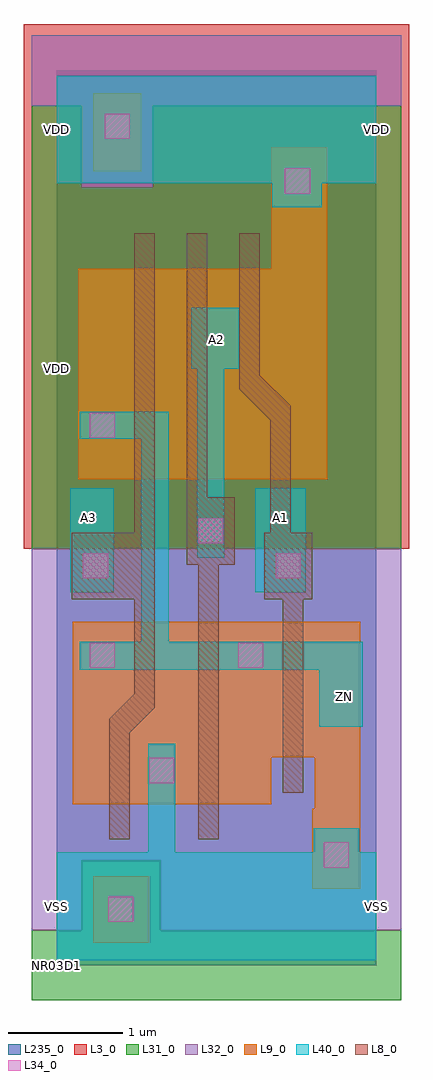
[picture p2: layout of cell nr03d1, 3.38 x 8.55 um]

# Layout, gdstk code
import gdstk
lib = gdstk.Library(unit=1e-6, precision=1e-09)
def R(c, l, rs):  # rectangles x0, y0, x1, y1
    for r in rs: c.add(gdstk.rectangle(r[:2], r[2:], *l))
def P(c, l, *ps):  # polygons
    for p in ps: c.add(gdstk.Polygon(p, *l))
L3_0 = (3, 0)
L8_0 = (8, 0)
L9_0 = (9, 0)
L31_0 = (31, 0)
L32_0 = (32, 0)
L34_0 = (34, 0)
L40_0 = (40, 0)
L235_0 = (235, 0)

nr03d1 = lib.new_cell('nr03d1')
R(nr03d1, L3_0, [(-0.29,3.65,3.09,8.245)])
P(nr03d1, L8_0, [(2.16,3.205),(2.24,3.205),(2.24,3.79),(2.05,3.79),(2.05,4.9),(1.78,5.17),(1.78,6.41),(1.6,6.41),(1.6,5.045),(1.87,4.775),(1.87,3.79),(1.82,3.79),(1.82,3.205),(1.98,3.205),(1.98,1.51),(2.16,1.51)],
  [(1.42,3.51),(1.56,3.51),(1.56,4.1),(1.32,4.1),(1.32,6.41),(1.14,6.41),(1.14,3.51),(1.24,3.51),(1.24,1.105),(1.42,1.105)],
  [(0.64,2.035),(0.86,2.255),(0.86,6.41),(0.68,6.41),(0.68,3.79),(0.13,3.79),(0.13,3.205),(0.68,3.205),(0.68,2.38),(0.46,2.16),(0.46,1.105),(0.64,1.105)])
R(nr03d1, L9_0, [(0.32,0.195,0.81,0.78), (0.32,6.955,0.74,7.64)])
P(nr03d1, L9_0, [(2.66,3.01),(2.66,0.67),(2.24,0.67),(2.24,1.37),(2.26,1.37),(2.26,1.82),(1.88,1.82),(1.88,1.41),(0.14,1.41),(0.14,3.01)],
  [(2.37,7.165),(2.37,4.255),(0.19,4.255),(0.19,6.1),(1.88,6.1),(1.88,7.165)])
P(nr03d1, L31_0, [(0.91,0.92),(0.91,0.305),(3.02,0.305),(3.02,-0.305),(-0.22,-0.305),(-0.22,0.305),(0.22,0.305),(0.22,0.92)],
  [(3.02,7.53),(3.02,3.65),(-0.22,3.65),(-0.22,7.53),(0.22,7.53),(0.22,6.815),(0.84,6.815),(0.84,7.53)])
P(nr03d1, L32_0, [(3.02,3.65),(3.02,0.305),(0.91,0.305),(0.91,0.92),(0.22,0.92),(0.22,0.305),(-0.22,0.305),(-0.22,3.65)],
  [(3.02,8.145),(3.02,7.53),(0.84,7.53),(0.84,6.815),(0.22,6.815),(0.22,7.53),(-0.22,7.53),(-0.22,8.145)])
R(nr03d1, L34_0, [(0.45,0.38,0.67,0.6), (2.34,0.855,2.56,1.075), (0.81,1.595,1.03,1.815), (0.29,2.605,0.51,2.825), (1.59,2.605,1.81,2.825), (0.23,3.39,0.45,3.61), (1.92,3.39,2.14,3.61), (1.24,3.695,1.46,3.915), (0.29,4.62,0.51,4.84), (2,6.76,2.22,6.98), (0.42,7.24,0.64,7.46)])
R(nr03d1, L40_0, [(0.12,3.265,0.5,4.18), (1.74,3.265,2.18,4.18)])
P(nr03d1, L40_0, [(0,6.85),(1.89,6.85),(1.89,6.64),(2.32,6.64),(2.32,6.85),(2.8,6.85),(2.8,7.79),(0,7.79)],
  [(1.18,5.225),(1.23,5.225),(1.23,3.57),(1.47,3.57),(1.47,5.225),(1.6,5.225),(1.6,5.76),(1.18,5.76)],
  [(0.98,4.85),(0.2,4.85),(0.2,4.61),(0.74,4.61),(0.74,2.835),(0.2,2.835),(0.2,2.59),(2.3,2.59),(2.3,2.09),(2.68,2.09),(2.68,2.835),(0.98,2.835)],
  [(2.25,1.2),(2.25,0.99),(1.04,0.99),(1.04,1.94),(0.8,1.94),(0.8,0.99),(0,0.99),(0,0.045),(2.8,0.045),(2.8,0.99),(2.65,0.99),(2.65,1.2)])
R(nr03d1, L235_0, [(0,0,2.8,7.84)])
nr03d1.add(gdstk.Label('VDD', (0,5.23), layer=40, texttype=7))
nr03d1.add(gdstk.Label('VDD', (0,5.23), layer=40, texttype=7))
nr03d1.add(gdstk.Label('VDD', (0,5.23), layer=40, texttype=7))
nr03d1.add(gdstk.Label('VDD', (0,5.23), layer=40, texttype=7))
nr03d1.add(gdstk.Label('VDD', (0,5.23), layer=40, texttype=7))
nr03d1.add(gdstk.Label('Copyright (c) 2003, 2004 Synopsys, Inc.', (0,-2.24), layer=96, texttype=0))
nr03d1.add(gdstk.Label('DT. 10-Sep-2002 16:43:55', (0,-1.68), layer=96, texttype=0))
nr03d1.add(gdstk.Label('Rev. 1', (0,-1.12), layer=96, texttype=0))
nr03d1.add(gdstk.Label('3-INPUT NOR, 1X DRIVE', (0,-0.56), layer=96, texttype=0))
nr03d1.add(gdstk.Label('NR03D1', (0,0), layer=96, texttype=0))
nr03d1.add(gdstk.Label('ZN', (2.52,2.35), layer=40, texttype=7))
nr03d1.add(gdstk.Label('A1', (1.96,3.92), layer=40, texttype=7))
nr03d1.add(gdstk.Label('A2', (1.4,5.485), layer=40, texttype=7))
nr03d1.add(gdstk.Label('A3', (0.28,3.92), layer=40, texttype=7))
nr03d1.add(gdstk.Label('VSS', (2.8,0.515), layer=40, texttype=7))
nr03d1.add(gdstk.Label('VDD', (2.8,7.32), layer=40, texttype=7))
nr03d1.add(gdstk.Label('VSS', (0,0.515), layer=40, texttype=7))
nr03d1.add(gdstk.Label('VDD', (0,7.32), layer=40, texttype=7))

lib.write_gds('nr03d1.gds')
